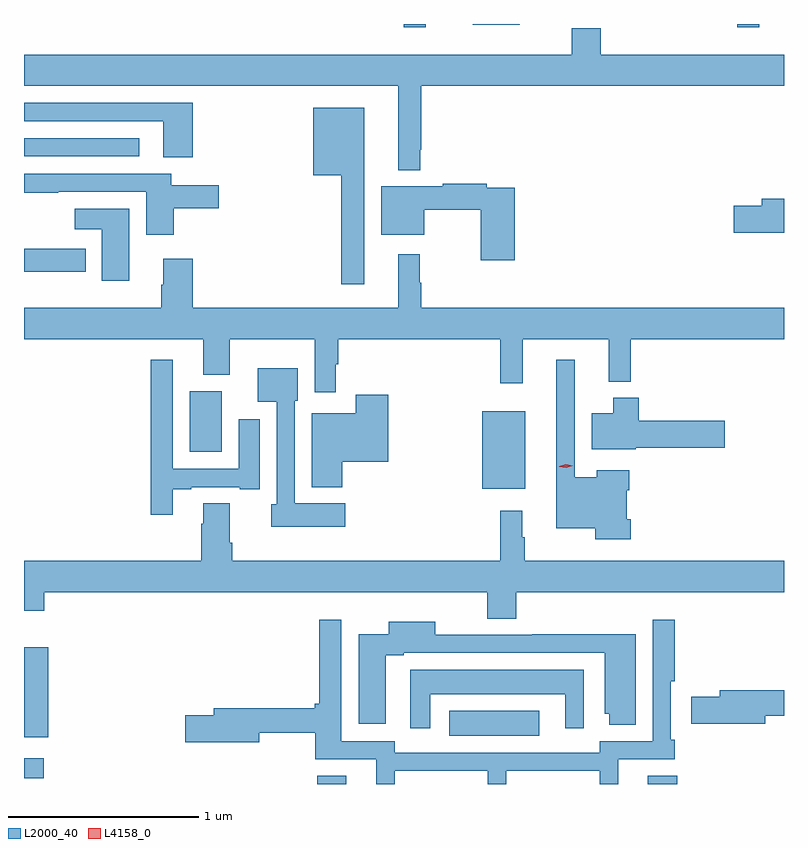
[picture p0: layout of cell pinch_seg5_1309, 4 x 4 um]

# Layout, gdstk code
import gdstk
lib = gdstk.Library(unit=1e-6, precision=1e-09)
def R(c, l, rs):  # rectangles x0, y0, x1, y1
    for r in rs: c.add(gdstk.rectangle(r[:2], r[2:], *l))
def P(c, l, *ps):  # polygons
    for p in ps: c.add(gdstk.Polygon(p, *l))
L2000_40 = (2000, 40)
L4158_0 = (4158, 0)

pinch_seg5_1309 = lib.new_cell('pinch_seg5_1309')
R(pinch_seg5_1309, L2000_40, [(351.179,886.386,351.331,886.43), (352.919,886.386,353.072,886.43), (349.635,886.415,349.738,886.522), (349.635,886.632,349.762,887.107), (351.873,886.64,352.348,886.771), (352.046,887.939,352.273,888.349), (350.507,888.134,350.677,888.454), (349.635,889.082,349.96,889.204), (349.635,889.689,350.242,889.785), (351.634,890.37,351.75,890.386), (353.388,890.37,353.504,890.386), (351.998,890.381,352.243,890.386)])
P(pinch_seg5_1309, L2000_40, [(351.72,889.723),(351.727,889.723),(351.727,890.06),(353.635,890.06),(353.635,890.224),(352.67,890.224),(352.67,890.363),(352.517,890.363),(352.517,890.224),(349.635,890.224),(349.635,890.06),(351.605,890.06),(351.605,889.616),(351.72,889.616)],
  [(350.522,889.971),(349.635,889.971),(349.635,889.875),(350.369,889.875),(350.369,889.684),(350.522,889.684)],
  [(351.427,889.945),(351.158,889.945),(351.158,889.589),(351.306,889.589),(351.306,889.017),(351.427,889.017)],
  [(350.423,889.415),(350.659,889.415),(350.659,889.537),(350.41,889.537),(350.41,889.599),(349.635,889.599),(349.635,889.498),(349.814,889.498),(349.814,889.503),(350.279,889.503),(350.279,889.278),(350.423,889.278)],
  [(352.217,889.524),(352.07,889.524),(352.07,889.544),(351.838,889.544),(351.838,889.531),(351.515,889.531),(351.515,889.277),(351.742,889.277),(351.742,889.408),(352.039,889.408),(352.039,889.143),(352.217,889.143)],
  [(353.635,889.466),(353.519,889.466),(353.519,889.43),(353.37,889.43),(353.37,889.288),(353.635,889.288)],
  [(350.188,889.414),(349.902,889.414),(349.902,889.307),(350.045,889.307),(350.045,889.034),(350.188,889.034)],
  [(351.727,889.025),(351.719,889.025),(351.719,889.174),(351.605,889.174),(351.605,888.892),(350.522,888.892),(350.522,889.15),(350.369,889.15),(350.369,889.013),(350.357,889.013),(350.357,888.892),(349.635,888.892),(349.635,888.728),(350.579,888.728),(350.579,888.539),(350.719,888.539),(350.719,888.728),(351.164,888.728),(351.164,888.447),(351.277,888.447),(351.277,888.596),(351.29,888.596),(351.29,888.728),(352.141,888.728),(352.141,888.495),(352.259,888.495),(352.259,888.728),(352.712,888.728),(352.712,888.503),(352.829,888.503),(352.829,888.728),(353.635,888.728),(353.635,888.892),(351.727,888.892)],
  [(350.419,887.937),(350.515,887.937),(350.515,887.949),(350.771,887.949),(350.771,887.937),(350.875,887.937),(350.875,888.307),(350.765,888.307),(350.765,888.045),(350.418,888.045),(350.418,888.619),(350.302,888.619),(350.302,887.802),(350.419,887.802)],
  [(352.829,887.779),(352.807,887.779),(352.807,887.933),(352.82,887.933),(352.82,888.037),(352.649,888.037),(352.649,888.001),(352.533,888.001),(352.533,888.619),(352.436,888.619),(352.436,887.732),(352.642,887.732),(352.642,887.675),(352.829,887.675)],
  [(351.325,887.863),(351.06,887.863),(351.06,888.402),(351.076,888.402),(351.076,888.574),(350.864,888.574),(350.864,888.398),(350.964,888.398),(350.964,887.859),(350.936,887.859),(350.936,887.741),(351.325,887.741)],
  [(351.311,888.083),(351.551,888.083),(351.551,888.436),(351.38,888.436),(351.38,888.337),(351.149,888.337),(351.149,887.948),(351.311,887.948)],
  [(352.854,888.155),(353.323,888.155),(353.323,888.297),(352.871,888.297),(352.871,888.418),(352.736,888.418),(352.736,888.337),(352.622,888.337),(352.622,888.149),(352.854,888.149)],
  [(352.226,887.396),(353.635,887.396),(353.635,887.56),(352.27,887.56),(352.27,887.684),(352.258,887.684),(352.258,887.824),(352.141,887.824),(352.141,887.56),(350.732,887.56),(350.732,887.656),(350.719,887.656),(350.719,887.864),(350.579,887.864),(350.579,887.756),(350.567,887.756),(350.567,887.56),(349.635,887.56),(349.635,887.297),(349.742,887.297),(349.742,887.396),(352.073,887.396),(352.073,887.257),(352.226,887.257)],
  [(351.586,886.455),(352.076,886.455),(352.076,886.386),(352.174,886.386),(352.174,886.455),(352.664,886.455),(352.664,886.386),(352.762,886.386),(352.762,886.515),(353.06,886.515),(353.06,886.618),(353.04,886.618),(353.04,886.927),(353.06,886.927),(353.06,887.251),(352.944,887.251),(352.944,886.611),(352.665,886.611),(352.665,886.551),(351.585,886.551),(351.585,886.611),(351.306,886.611),(351.306,887.251),(351.19,887.251),(351.19,886.808),(351.164,886.808),(351.164,886.784),(350.633,886.784),(350.633,886.748),(350.484,886.748),(350.484,886.606),(350.872,886.606),(350.872,886.656),(351.169,886.656),(351.169,886.515),(351.488,886.515),(351.488,886.386),(351.586,886.386)],
  [(352.855,887.175),(352.309,887.175),(352.309,887.172),(351.799,887.172),(351.799,887.239),(351.554,887.239),(351.554,887.175),(351.398,887.175),(351.398,886.704),(351.538,886.704),(351.538,887.064),(351.634,887.064),(351.634,887.076),(352.691,887.076),(352.691,886.755),(352.715,886.755),(352.715,886.698),(352.855,886.698)],
  [(351.772,886.859),(352.484,886.859),(352.484,886.68),(352.581,886.68),(352.581,886.987),(351.668,886.987),(351.668,886.68),(351.772,886.68)],
  [(353.536,886.744),(353.635,886.744),(353.635,886.88),(353.297,886.88),(353.297,886.844),(353.148,886.844),(353.148,886.702),(353.536,886.702)])
P(pinch_seg5_1309, L4158_0, [(352.488,888.05),(352.452,888.057),(352.452,888.057),(352.452,888.058),(352.487,888.07),(352.523,888.062),(352.523,888.062),(352.523,888.061)])

lib.write_gds('pinch_seg5_1309.gds')
